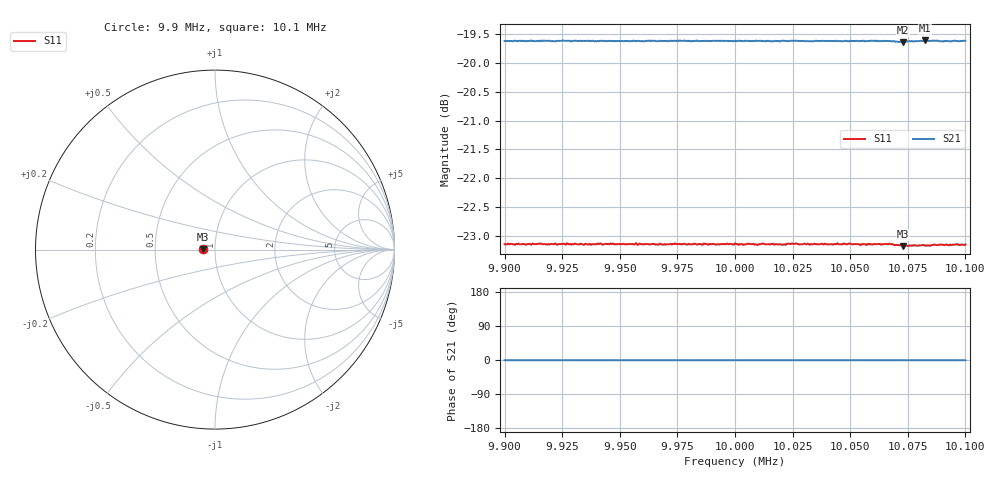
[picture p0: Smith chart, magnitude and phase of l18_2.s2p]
! NanoVNA-App
! Date: 2026-10-13 22:13:46
! Start: 9,9MHz Stop: 10,1MHz Points: 401
! S-Parameter data: F S11 S21 S12 S22
# Hz S RI R 50
!  Frequency  S11_Real  S11_Imag  S21_Real  S21_Imag  S12_Real  S12_Imag  S22_Real  S22_Imag
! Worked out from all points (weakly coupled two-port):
!   401 points, 9.9 MHz to 10.1 MHz, reference 50 ohm
!   highest |S21| = -19.60 dB at 10.082 MHz (marker M1); lowest = -19.6 dB at 10.073 MHz (marker M2)
!   lowest |S11| = -23.2 dB at 10.073 MHz (marker M3), VSWR 1.15, Z = 43.5 + j0.344 ohm
!   |S11| at or under -10 dB: start of sweep to end of sweep
!   S12 and S22 are empty: the file has one direction only
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9900000  -0.0695 0.00393  0.1045 -0.00104  0 0  0 0
9915000  -0.0696 0.00388  0.1046 -0.000977  0 0  0 0
9917500  -0.0695 0.0039  0.1046 -0.00107  0 0  0 0
9933500  -0.0695 0.00395  0.1045 -0.000993  0 0  0 0
9946000  -0.0696 0.00397  0.1045 -0.00108  0 0  0 0
9967000  -0.0694 0.00396  0.1045 -0.00105  0 0  0 0
1e7  -0.0696 0.00393  0.1046 -0.00106  0 0  0 0
1.0007e7  -0.0695 0.00391  0.1045 -0.001  0 0  0 0
1.00095e7  -0.0694 0.00394  0.1045 -0.00108  0 0  0 0
1.0012e7  -0.0696 0.00388  0.1045 -0.001  0 0  0 0
1.0021e7  -0.0694 0.00395  0.1046 -0.00108  0 0  0 0
1.00255e7  -0.0695 0.00391  0.1046 -0.000999  0 0  0 0
1.00285e7  -0.0695 0.00398  0.1045 -0.00108  0 0  0 0
1.00335e7  -0.0695 0.00387  0.1045 -0.00106  0 0  0 0
1.0067e7  -0.0696 0.00391  0.1046 -0.00106  0 0  0 0
1.0073e7  -0.0692 0.00393  0.1043 -0.00102  0 0  0 0
1.0076e7  -0.0693 0.00396  0.1045 -0.001  0 0  0 0
1.00825e7  -0.0693 0.00402  0.1047 -0.00107  0 0  0 0
1.0084e7  -0.0693 0.00394  0.1045 -0.00102  0 0  0 0
1.0087e7  -0.0694 0.00389  0.1046 -0.00106  0 0  0 0
1.00895e7  -0.0695 0.00382  0.1045 -0.00109  0 0  0 0
1.01e7  -0.0694 0.00401  0.1046 -0.00102  0 0  0 0
